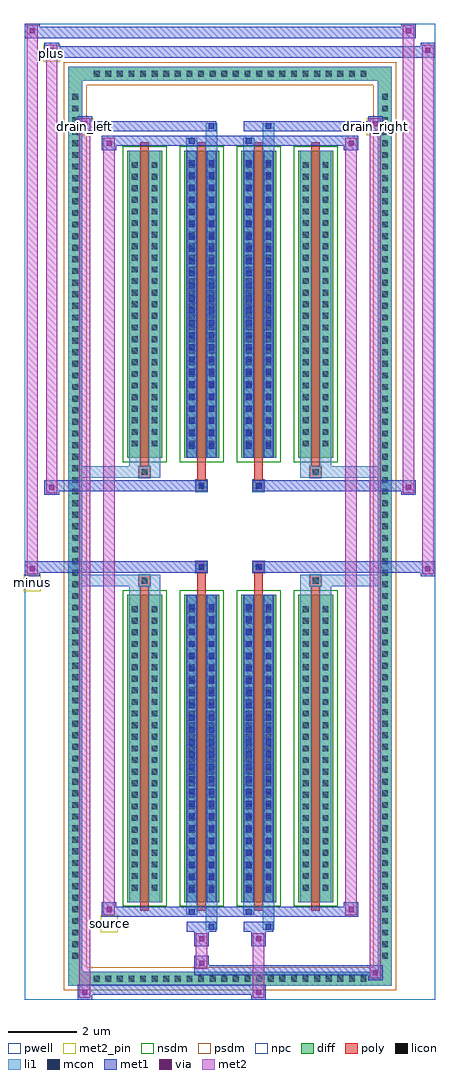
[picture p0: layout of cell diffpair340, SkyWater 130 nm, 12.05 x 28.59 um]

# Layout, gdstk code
import gdstk
lib = gdstk.Library(unit=1e-6, precision=5e-09)
def R(c, l, rs):  # rectangles x0, y0, x1, y1
    for r in rs: c.add(gdstk.rectangle(r[:2], r[2:], *l))
def A(c, l, x, y, w, h, nx, ny, dx, dy):  # array of equal rectangles
    R(c, l, [(x+i*dx, y+j*dy, x+i*dx+w, y+j*dy+h) for i in range(nx) for j in range(ny)])
def P(c, l, *ps):  # polygons
    for p in ps: c.add(gdstk.Polygon(p, *l))
pwell = (64, 44)
diff = (65, 20)
poly = (66, 20)
licon = (66, 44)
li1 = (67, 20)
mcon = (67, 44)
met1 = (68, 20)
via = (68, 44)
met2_pin = (69, 16)
met2 = (69, 20)
nsdm = (93, 44)
psdm = (94, 20)
npc = (95, 20)

diffpair340 = lib.new_cell('diffpair340')
R(diffpair340, pwell, [(-6.01,-13.86,6.01,14.73), (-3.33,-12.05,-0.01,-0.825), (0.01,-12.05,3.33,-0.825), (-3.33,0.825,-0.01,12.05), (0.01,0.825,3.33,12.05)])
A(diffpair340, diff, -4.115, -13.46, 0.41, 0.41, 24, 2, 0.34, 26.51)
A(diffpair340, diff, -4.74, -12.785, 0.41, 0.41, 1, 75, 0, 0.34)
A(diffpair340, diff, 4.33, -12.785, 0.41, 0.41, 1, 75, 0, 0.34)
A(diffpair340, diff, -3.02, -11.005, 1.03, 9, 4, 2, 1.67, 13.01)
R(diffpair340, diff, [(-4.115,-13.46,4.115,-13.05), (-4.74,-12.785,-4.33,12.785), (4.33,-12.785,4.74,12.785), (-4.115,13.05,4.115,13.46)])
P(diffpair340, diff, [(4.74,13.46),(-4.74,13.46),(-4.74,-13.05),(-4.33,-13.05),(-4.33,13.05),(4.33,13.05),(4.33,-13.05),(-4.33,-13.05),(-4.74,-13.05),(-4.74,-13.46),(4.74,-13.46)])
A(diffpair340, poly, -2.63, -11.255, 0.25, 9.5, 4, 2, 1.67, 13.01)
R(diffpair340, poly, [(-2.67,-1.755,-2.34,-1.425), (-2.67,-1.755,-2.34,-1.425), (-0.96,-1.755,-0.71,-1.355), (0.71,-1.755,0.96,-1.355), (2.34,-1.755,2.67,-1.425), (2.34,-1.755,2.67,-1.425), (-1,-1.355,-0.67,-1.025), (-1,-1.355,-0.67,-1.025), (0.67,-1.355,1,-1.025), (0.67,-1.355,1,-1.025), (-1,1.025,-0.67,1.355), (-1,1.025,-0.67,1.355), (0.67,1.025,1,1.355), (0.67,1.025,1,1.355), (-0.96,1.355,-0.71,1.755), (0.71,1.355,0.96,1.755), (-2.67,1.425,-2.34,1.755), (-2.67,1.425,-2.34,1.755), (2.34,1.425,2.67,1.755), (2.34,1.425,2.67,1.755)])
A(diffpair340, licon, -3.995, -13.34, 0.17, 0.17, 24, 2, 0.34, 26.51)
A(diffpair340, licon, -4.62, -12.665, 0.17, 0.17, 1, 75, 0, 0.34)
A(diffpair340, licon, 4.45, -12.665, 0.17, 0.17, 1, 75, 0, 0.34)
A(diffpair340, licon, -2.88, -10.67, 0.17, 0.17, 1, 25, 0, 0.34)
A(diffpair340, licon, -2.3, -10.67, 0.17, 0.17, 1, 25, 0, 0.34)
A(diffpair340, licon, -1.21, -10.67, 0.17, 0.17, 1, 25, 0, 0.34)
A(diffpair340, licon, -0.63, -10.67, 0.17, 0.17, 1, 25, 0, 0.34)
A(diffpair340, licon, 0.46, -10.67, 0.17, 0.17, 1, 25, 0, 0.34)
A(diffpair340, licon, 1.04, -10.67, 0.17, 0.17, 1, 25, 0, 0.34)
A(diffpair340, licon, 2.13, -10.67, 0.17, 0.17, 1, 25, 0, 0.34)
A(diffpair340, licon, 2.71, -10.67, 0.17, 0.17, 1, 25, 0, 0.34)
A(diffpair340, licon, -2.88, 2.34, 0.17, 0.17, 1, 25, 0, 0.34)
A(diffpair340, licon, -2.3, 2.34, 0.17, 0.17, 1, 25, 0, 0.34)
A(diffpair340, licon, -1.21, 2.34, 0.17, 0.17, 1, 25, 0, 0.34)
A(diffpair340, licon, -0.63, 2.34, 0.17, 0.17, 1, 25, 0, 0.34)
A(diffpair340, licon, 0.46, 2.34, 0.17, 0.17, 1, 25, 0, 0.34)
A(diffpair340, licon, 1.04, 2.34, 0.17, 0.17, 1, 25, 0, 0.34)
A(diffpair340, licon, 2.13, 2.34, 0.17, 0.17, 1, 25, 0, 0.34)
A(diffpair340, licon, 2.71, 2.34, 0.17, 0.17, 1, 25, 0, 0.34)
R(diffpair340, licon, [(-2.59,-1.675,-2.42,-1.505), (2.42,-1.675,2.59,-1.505), (-0.92,-1.275,-0.75,-1.105), (0.75,-1.275,0.92,-1.105), (-0.92,1.105,-0.75,1.275), (0.75,1.105,0.92,1.275), (-2.59,1.505,-2.42,1.675), (2.42,1.505,2.59,1.675)])
A(diffpair340, li1, -4.075, -13.42, 0.33, 0.33, 24, 2, 0.34, 26.51)
A(diffpair340, li1, -4.7, -12.745, 0.33, 0.33, 1, 75, 0, 0.34)
A(diffpair340, li1, 4.37, -12.745, 0.33, 0.33, 1, 75, 0, 0.34)
A(diffpair340, li1, -2.96, -10.75, 0.33, 0.33, 1, 25, 0, 0.34)
A(diffpair340, li1, -2.38, -10.75, 0.33, 0.33, 1, 25, 0, 0.34)
A(diffpair340, li1, -1.29, -10.75, 0.33, 0.33, 1, 25, 0, 0.34)
A(diffpair340, li1, -0.71, -10.75, 0.33, 0.33, 1, 25, 0, 0.34)
A(diffpair340, li1, 0.38, -10.75, 0.33, 0.33, 1, 25, 0, 0.34)
A(diffpair340, li1, 0.96, -10.75, 0.33, 0.33, 1, 25, 0, 0.34)
A(diffpair340, li1, 2.05, -10.75, 0.33, 0.33, 1, 25, 0, 0.34)
A(diffpair340, li1, 2.63, -10.75, 0.33, 0.33, 1, 25, 0, 0.34)
A(diffpair340, li1, -1.21, -10.73, 0.17, 0.17, 1, 24, 0, 0.36)
A(diffpair340, li1, -0.63, -10.73, 0.17, 0.17, 1, 24, 0, 0.36)
A(diffpair340, li1, 0.46, -10.73, 0.17, 0.17, 1, 24, 0, 0.36)
A(diffpair340, li1, 1.04, -10.73, 0.17, 0.17, 1, 24, 0, 0.36)
A(diffpair340, li1, -2.96, 2.26, 0.33, 0.33, 1, 25, 0, 0.34)
A(diffpair340, li1, -2.38, 2.26, 0.33, 0.33, 1, 25, 0, 0.34)
A(diffpair340, li1, -1.29, 2.26, 0.33, 0.33, 1, 25, 0, 0.34)
A(diffpair340, li1, -0.71, 2.26, 0.33, 0.33, 1, 25, 0, 0.34)
A(diffpair340, li1, 0.38, 2.26, 0.33, 0.33, 1, 25, 0, 0.34)
A(diffpair340, li1, 0.96, 2.26, 0.33, 0.33, 1, 25, 0, 0.34)
A(diffpair340, li1, 2.05, 2.26, 0.33, 0.33, 1, 25, 0, 0.34)
A(diffpair340, li1, 2.63, 2.26, 0.33, 0.33, 1, 25, 0, 0.34)
A(diffpair340, li1, -1.21, 2.28, 0.17, 0.17, 1, 24, 0, 0.36)
A(diffpair340, li1, -0.63, 2.28, 0.17, 0.17, 1, 24, 0, 0.36)
A(diffpair340, li1, 0.46, 2.28, 0.17, 0.17, 1, 24, 0, 0.36)
A(diffpair340, li1, 1.04, 2.28, 0.17, 0.17, 1, 24, 0, 0.36)
R(diffpair340, li1, [(-4.74,-13.46,-4.33,-13.05), (-4.74,-13.46,-4.33,-13.05), (-4.33,-13.46,4.33,-13.05), (4.33,-13.46,4.74,-13.05), (4.33,-13.46,4.74,-13.05), (-4.74,-13.05,-4.33,13.05), (4.33,-13.05,4.74,13.05), (-0.71,-11.81,-0.38,-11.005), (-0.63,-11.81,-0.46,-11.64), (0.96,-11.81,1.29,-11.005), (1.04,-11.81,1.21,-11.64), (-1.29,-11.38,-0.96,-11.005), (-1.21,-11.38,-1.04,-11.21), (0.38,-11.38,0.71,-11.005), (0.46,-11.38,0.63,-11.21), (-2.96,-11.005,-2.63,-2.005), (-2.38,-11.005,-2.05,-2.005), (-1.29,-11.005,-0.96,-2.005), (-0.71,-11.005,-0.38,-2.005), (0.38,-11.005,0.71,-2.005), (0.96,-11.005,1.29,-2.005), (2.05,-11.005,2.38,-2.005), (2.63,-11.005,2.96,-2.005), (-1.21,-10.73,-1.04,-2.28), (-0.63,-10.73,-0.46,-2.28), (0.46,-10.73,0.63,-2.28), (1.04,-10.73,1.21,-2.28), (-2.96,-2.005,-2.63,-1.425), (-2.38,-2.005,-2.05,-1.425), (2.05,-2.005,2.38,-1.425), (2.63,-2.005,2.96,-1.425), (-4.74,-1.755,-2.67,-1.425), (-2.96,-1.755,-2.67,-1.425), (-2.67,-1.755,-2.34,-1.425), (-2.34,-1.755,-2.05,-1.425), (2.05,-1.755,2.34,-1.425), (2.34,-1.755,2.67,-1.425), (2.34,-1.755,4.74,-1.425), (2.67,-1.755,2.96,-1.425), (-1,-1.355,-0.67,-1.025), (0.67,-1.355,1,-1.025), (-1,1.025,-0.67,1.355), (0.67,1.025,1,1.355), (-4.74,1.425,-2.67,1.755), (-2.96,1.425,-2.67,1.755), (-2.96,1.425,-2.63,2.005), (-2.67,1.425,-2.34,1.755), (-2.38,1.425,-2.05,2.005), (-2.34,1.425,-2.05,1.755), (2.05,1.425,2.34,1.755), (2.05,1.425,2.38,2.005), (2.34,1.425,2.67,1.755), (2.34,1.425,4.74,1.755), (2.63,1.425,2.96,2.005), (2.67,1.425,2.96,1.755), (-2.96,2.005,-2.63,11.005), (-2.38,2.005,-2.05,11.005), (-1.29,2.005,-0.96,11.005), (-0.71,2.005,-0.38,11.005), (0.38,2.005,0.71,11.005), (0.96,2.005,1.29,11.005), (2.05,2.005,2.38,11.005), (2.63,2.005,2.96,11.005), (-1.21,2.28,-1.04,10.73), (-0.63,2.28,-0.46,10.73), (0.46,2.28,0.63,10.73), (1.04,2.28,1.21,10.73), (-1.29,11.005,-0.96,11.38), (-0.71,11.005,-0.38,11.81), (0.38,11.005,0.71,11.38), (0.96,11.005,1.29,11.81), (-1.21,11.21,-1.04,11.38), (0.46,11.21,0.63,11.38), (-0.63,11.64,-0.46,11.81), (1.04,11.64,1.21,11.81), (-4.74,13.05,-4.33,13.46), (-4.74,13.05,-4.33,13.46), (-4.33,13.05,4.33,13.46), (4.33,13.05,4.74,13.46), (4.33,13.05,4.74,13.46)])
A(diffpair340, mcon, -1.21, -10.73, 0.17, 0.17, 1, 24, 0, 0.36)
A(diffpair340, mcon, -0.63, -10.73, 0.17, 0.17, 1, 24, 0, 0.36)
A(diffpair340, mcon, 0.46, -10.73, 0.17, 0.17, 1, 24, 0, 0.36)
A(diffpair340, mcon, 1.04, -10.73, 0.17, 0.17, 1, 24, 0, 0.36)
A(diffpair340, mcon, -1.21, 2.28, 0.17, 0.17, 1, 24, 0, 0.36)
A(diffpair340, mcon, -0.63, 2.28, 0.17, 0.17, 1, 24, 0, 0.36)
A(diffpair340, mcon, 0.46, 2.28, 0.17, 0.17, 1, 24, 0, 0.36)
A(diffpair340, mcon, 1.04, 2.28, 0.17, 0.17, 1, 24, 0, 0.36)
R(diffpair340, mcon, [(-0.63,-11.81,-0.46,-11.64), (1.04,-11.81,1.21,-11.64), (-1.21,-11.38,-1.04,-11.21), (0.46,-11.38,0.63,-11.21), (-0.92,-1.275,-0.75,-1.105), (0.75,-1.275,0.92,-1.105), (-0.92,1.105,-0.75,1.275), (0.75,1.105,0.92,1.275), (-1.21,11.21,-1.04,11.38), (0.46,11.21,0.63,11.38), (-0.63,11.64,-0.46,11.81), (1.04,11.64,1.21,11.81)])
A(diffpair340, met1, -1.27, -10.79, 0.29, 0.29, 1, 24, 0, 0.36)
A(diffpair340, met1, -0.69, -10.79, 0.29, 0.29, 1, 24, 0, 0.36)
A(diffpair340, met1, 0.4, -10.79, 0.29, 0.29, 1, 24, 0, 0.36)
A(diffpair340, met1, 0.98, -10.79, 0.29, 0.29, 1, 24, 0, 0.36)
A(diffpair340, met1, -1.27, 2.22, 0.29, 0.29, 1, 24, 0, 0.36)
A(diffpair340, met1, -0.69, 2.22, 0.29, 0.29, 1, 24, 0, 0.36)
A(diffpair340, met1, 0.4, 2.22, 0.29, 0.29, 1, 24, 0, 0.36)
A(diffpair340, met1, 0.98, 2.22, 0.29, 0.29, 1, 24, 0, 0.36)
R(diffpair340, met1, [(-4.47,-13.86,-4.04,-13.43), (0.62,-13.86,1.05,-13.43), (-4.47,-13.72,1.05,-13.43), (4.04,-13.29,4.47,-12.86), (-1.05,-13.15,4.47,-12.86), (-1.05,-13.01,-0.62,-12.58), (-1.05,-12.3,-0.62,-11.87), (0.62,-12.3,1.05,-11.87), (-1.27,-11.87,-0.4,-11.58), (-0.69,-11.87,-0.4,-11.58), (0.4,-11.87,1.27,-11.58), (0.98,-11.87,1.27,-11.58), (-3.76,-11.44,-3.33,-11.01), (-3.76,-11.44,-1.27,-11.15), (-1.27,-11.44,-0.98,-11.15), (-1.27,-11.44,-0.4,-11.15), (-0.4,-11.44,0.4,-11.15), (0.4,-11.44,0.69,-11.15), (0.4,-11.44,1.27,-11.15), (1.27,-11.44,3.76,-11.15), (3.33,-11.44,3.76,-11.01), (-1.27,-11.005,-0.98,-2.005), (-0.69,-11.005,-0.4,-2.005), (0.4,-11.005,0.69,-2.005), (0.98,-11.005,1.27,-2.005), (-6.01,-1.455,-5.58,-1.025), (5.58,-1.455,6.01,-1.025), (-6.01,-1.355,-0.67,-1.025), (-1,-1.355,-0.67,-1.025), (0.67,-1.355,1,-1.025), (0.67,-1.355,6.01,-1.025), (-0.98,-1.335,-0.69,-1.045), (0.69,-1.335,0.98,-1.045), (-5.44,0.925,-5.01,1.355), (5.01,0.925,5.44,1.355), (-5.44,1.025,-1,1.355), (-1,1.025,-0.67,1.355), (0.67,1.025,1,1.355), (1,1.025,5.44,1.355), (-0.98,1.045,-0.69,1.335), (0.69,1.045,0.98,1.335), (-1.27,2.005,-0.98,11.005), (-0.69,2.005,-0.4,11.005), (0.4,2.005,0.69,11.005), (0.98,2.005,1.27,11.005), (-3.76,11.01,-3.33,11.44), (3.33,11.01,3.76,11.44), (-3.76,11.15,-1.27,11.44), (-1.27,11.15,-0.98,11.44), (-1.27,11.15,-0.4,11.44), (-0.4,11.15,0.4,11.44), (0.4,11.15,0.69,11.44), (0.4,11.15,1.27,11.44), (1.27,11.15,3.76,11.44), (-4.47,11.58,-4.04,12.01), (-4.47,11.58,-1.27,11.87), (-1.27,11.58,-0.4,11.87), (-0.69,11.58,-0.4,11.87), (0.4,11.58,1.27,11.87), (0.98,11.58,1.27,11.87), (1.27,11.58,4.47,11.87), (4.04,11.58,4.47,12.01), (-5.44,13.73,-5.01,14.16), (-5.44,13.73,-3.33,14.06), (-3.33,13.73,3.33,14.06), (3.33,13.73,6.01,14.06), (5.58,13.73,6.01,14.16), (-6.01,14.3,-5.58,14.73), (-6.01,14.3,-3.33,14.63), (-3.33,14.3,3.33,14.63), (3.33,14.3,5.44,14.63), (5.01,14.3,5.44,14.73)])
R(diffpair340, via, [(-4.33,-13.72,-4.18,-13.57), (0.76,-13.72,0.91,-13.57), (4.18,-13.15,4.33,-13), (-0.91,-12.87,-0.76,-12.72), (-0.91,-12.16,-0.76,-12.01), (0.76,-12.16,0.91,-12.01), (-3.62,-11.3,-3.47,-11.15), (3.47,-11.3,3.62,-11.15), (-5.87,-1.315,-5.72,-1.165), (5.72,-1.315,5.87,-1.165), (-5.3,1.065,-5.15,1.215), (5.15,1.065,5.3,1.215), (-3.62,11.15,-3.47,11.3), (3.47,11.15,3.62,11.3), (-4.33,11.72,-4.18,11.87), (4.18,11.72,4.33,11.87), (-5.3,13.87,-5.15,14.02), (5.72,13.87,5.87,14.02), (-5.87,14.44,-5.72,14.59), (5.15,14.44,5.3,14.59)])
R(diffpair340, met2_pin, [(-3.795,-11.89,-3.295,-11.39), (-6.045,-1.905,-5.545,-1.405), (-4.505,11.46,-4.005,11.96), (4.005,11.46,4.505,11.96), (-5.475,13.61,-4.975,14.11)])
R(diffpair340, met2, [(-4.42,-13.81,-4.09,-13.48), (-4.42,-13.81,-4.09,11.96), (0.67,-13.81,1,-13.48), (0.67,-13.48,1,-12.25), (4.09,-13.24,4.42,-12.91), (4.09,-13.24,4.42,11.96), (-1,-12.96,-0.67,-12.63), (-1,-12.63,-0.67,-12.25), (-1,-12.25,-0.67,-11.92), (0.67,-12.25,1,-11.92), (-3.71,-11.39,-3.38,-11.06), (-3.71,-11.39,-3.38,11.39), (3.38,-11.39,3.71,-11.06), (3.38,-11.39,3.71,11.39), (-5.96,-1.405,-5.63,-1.075), (-5.96,-1.405,-5.63,14.68), (5.63,-1.405,5.96,-1.075), (5.63,-1.405,5.96,14.11), (-5.39,0.975,-5.06,1.305), (-5.39,0.975,-5.06,14.11), (5.06,0.975,5.39,1.305), (5.06,0.975,5.39,14.68), (-3.71,11.06,-3.38,11.39), (3.38,11.06,3.71,11.39), (-4.42,11.63,-4.09,11.96), (4.09,11.63,4.42,11.96), (-5.39,13.78,-5.06,14.11), (5.63,13.78,5.96,14.11), (-5.96,14.35,-5.63,14.68), (5.06,14.35,5.39,14.68)])
P(diffpair340, met2, [(5.96,-1.405),(5.96,-1.405),(5.96,-1.075),(5.96,-1.075)],
  [(5.96,13.78),(5.96,13.78),(5.96,14.11),(5.96,14.11)],
  [(-5.63,-1.405),(-5.63,-1.405),(-5.63,-1.075),(-5.63,-1.075)],
  [(-5.63,14.35),(-5.63,14.35),(-5.63,14.68),(-5.63,14.68)],
  [(5.39,0.975),(5.39,0.975),(5.39,1.305),(5.39,1.305)],
  [(5.39,14.35),(5.39,14.35),(5.39,14.68),(5.39,14.68)],
  [(-5.06,0.975),(-5.06,0.975),(-5.06,1.305),(-5.06,1.305)],
  [(-5.06,13.78),(-5.06,13.78),(-5.06,14.11),(-5.06,14.11)],
  [(-4.09,-13.81),(-4.09,-13.81),(-4.09,-13.48),(-4.09,-13.48)],
  [(-4.09,11.63),(-4.09,11.63),(-4.09,11.96),(-4.09,11.96)],
  [(4.42,-13.24),(4.42,-13.24),(4.42,-12.91),(4.42,-12.91)],
  [(4.42,11.63),(4.42,11.63),(4.42,11.96),(4.42,11.96)],
  [(-3.38,-11.39),(-3.38,-11.39),(-3.38,-11.06),(-3.38,-11.06)],
  [(-3.38,11.06),(-3.38,11.06),(-3.38,11.39),(-3.38,11.39)],
  [(3.71,-11.39),(3.71,-11.39),(3.71,-11.06),(3.71,-11.06)],
  [(3.71,11.06),(3.71,11.06),(3.71,11.39),(3.71,11.39)])
A(diffpair340, nsdm, -3.15, -11.135, 1.29, 9.26, 4, 2, 1.67, 13.01)
P(diffpair340, psdm, [(4.87,13.59),(-4.87,13.59),(-4.87,-12.92),(-4.2,-12.92),(-4.2,12.92),(4.2,12.92),(4.2,-12.92),(-4.2,-12.92),(-4.87,-12.92),(-4.87,-13.59),(4.87,-13.59)])
R(diffpair340, npc, [(-2.69,-1.775,-2.32,-1.405), (2.32,-1.775,2.69,-1.405), (-1.02,-1.375,-0.65,-1.005), (0.65,-1.375,1.02,-1.005), (-1.02,1.005,-0.65,1.375), (0.65,1.005,1.02,1.375), (-2.69,1.405,-2.32,1.775), (2.32,1.405,2.69,1.775)])
diffpair340.add(gdstk.Label('minus', (-5.795,-1.655), layer=69, texttype=5))
diffpair340.add(gdstk.Label('drain_right', (4.255,11.71), layer=69, texttype=5))
diffpair340.add(gdstk.Label('drain_left', (-4.255,11.71), layer=69, texttype=5))
diffpair340.add(gdstk.Label('source', (-3.545,-11.64), layer=69, texttype=5))
diffpair340.add(gdstk.Label('plus', (-5.225,13.86), layer=69, texttype=5))

lib.write_gds('diffpair340.gds')
